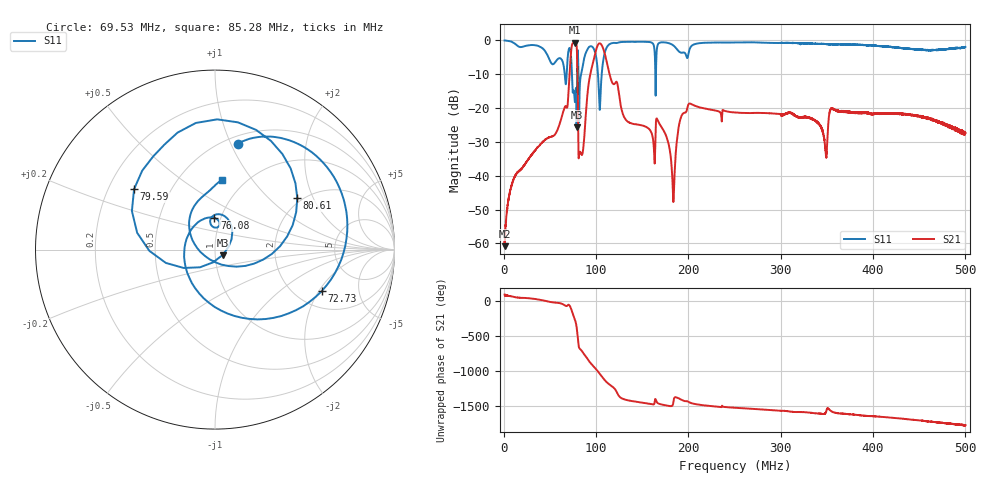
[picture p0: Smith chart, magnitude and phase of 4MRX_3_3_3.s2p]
! NanoVNA-App
! Date: 2026-08-19 14:20:19
! Start: 1MHz Stop: 500MHz Points: 6401
! S-Parameter data: F S11 S21 S12 S22
# Hz S RI R 50
!  Frequency  S11_Real  S11_Imag  S21_Real  S21_Imag  S12_Real  S12_Imag  S22_Real  S22_Imag
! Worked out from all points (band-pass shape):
!   6401 points, 1 MHz to 500 MHz, reference 50 ohm
!   highest |S21| = -0.69 dB at 76.86 MHz (marker M1); lowest = -60.8 dB at 1 MHz (marker M2)
!   |S21| within 3 dB of the highest: 72.88 MHz to 79.37 MHz (6.491 MHz wide, 8.53 % of centre); 99.16 MHz to 109.2 MHz (10.08 MHz wide, 9.68 % of centre)
!   lowest |S11| = -25.7 dB at 78.97 MHz (marker M3), VSWR 1.11, Z = 54.3 - j3.36 ohm
!   |S11| at or under -10 dB: 73.91 MHz to 79.31 MHz (5.4 MHz wide, 7.05 % of centre); 81 MHz to 83.9 MHz (2.898 MHz wide, 3.51 % of centre); 102.1 MHz to 106.1 MHz (4.042 MHz wide, 3.88 % of centre)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
!   S12 and S22 are empty: the file has one direction only
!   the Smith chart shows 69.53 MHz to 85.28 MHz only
!   S11 on the Smith chart (normalised r, x): 69.53 MHz: 0.57, +1.06; 72.73 MHz: 2.71, -2.12; 76.08 MHz: 0.93, +0.34; 79.59 MHz: 0.31, +0.30; 80.61 MHz: 1.88, +1.53; 85.28 MHz: 0.79, +0.73
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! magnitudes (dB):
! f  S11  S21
! 1 MHz  0.0  -60.8
! 11.53 MHz  -0.8  -40.5
! 69.53 MHz  -4.4  -18.1
! 72.73 MHz  -3.9  -4.2
! 76.08 MHz  -15.1  -0.7
! 76.86 MHz  -17.6  -0.7
! 78.97 MHz  -25.7  -1.5
! 79.59 MHz  -5.0  -6.9
! 80.61 MHz  -5.3  -26.0
! 84.19 MHz  -9.7  -33.7
! 85.28 MHz  -8.1  -33.5
! 96.28 MHz  -1.9  -7.0
! 103.6 MHz  -18.7  -0.9
! 132.4 MHz  -0.4  -23.5
! 167.4 MHz  -1.0  -23.9
! 183.5 MHz  -1.4  -46.4
! 201.1 MHz  -2.8  -18.6
! 250.5 MHz  -0.6  -21.3
! 333.7 MHz  -1.0  -23.2
! 348.4 MHz  -1.0  -32.4
! 416.9 MHz  -1.8  -21.5
! 500 MHz  -1.9  -27.2
